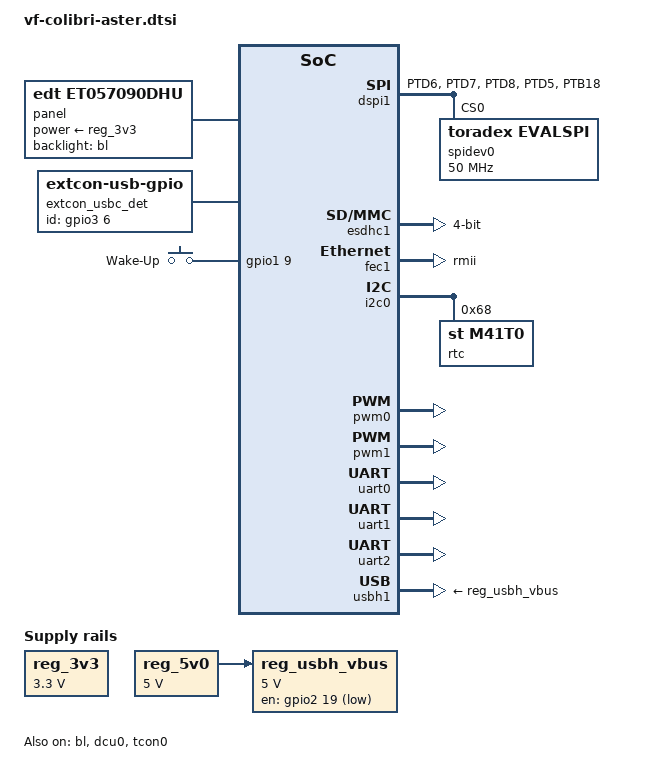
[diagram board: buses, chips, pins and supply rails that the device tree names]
/*
 * Copyright 2017 Toradex AG
 *
 * This program is free software; you can redistribute it and/or modify
 * it under the terms of the GNU General Public License as published by
 * the Free Software Foundation; either version 2 of the License, or
 * (at your option) any later version.
 */

#include <dt-bindings/input/input.h>

/ {
	chosen {
		stdout-path = "serial0:115200n8";
	};

	aliases {
		ethernet0 = &fec1;
		ethernet1 = &fec0;
	};

	panel: panel {
		compatible = "edt,et057090dhu";
		backlight = <&bl>;
		power-supply =  <&reg_3v3>;
	};

	extcon_usbc_det: usbc_det {
		compatible = "linux,extcon-usb-gpio";
		debounce = <25>;
		id-gpio = <&gpio3 6 GPIO_ACTIVE_HIGH>;
		pinctrl-names = "default";
		pinctrl-0 = <&pinctrl_usbc_det>;
	};

	reg_3v3: regulator-3v3 {
		compatible = "regulator-fixed";
		regulator-name = "3.3V";
		regulator-min-microvolt = <3300000>;
		regulator-max-microvolt = <3300000>;
		regulator-always-on;
	};

	reg_5v0: regulator-5v0 {
		compatible = "regulator-fixed";
		regulator-name = "5V";
		regulator-min-microvolt = <5000000>;
		regulator-max-microvolt = <5000000>;
		regulator-always-on;
	};

	reg_usbh_vbus: regulator-usbh-vbus {
		compatible = "regulator-fixed";
		pinctrl-names = "default";
		pinctrl-0 = <&pinctrl_usbh1_reg>;
		regulator-name = "VCC_USB[1-4]";
		regulator-min-microvolt = <5000000>;
		regulator-max-microvolt = <5000000>;
		gpio = <&gpio2 19 GPIO_ACTIVE_LOW>; /* USBH_PEN resp. USBH_P_EN */
		vin-supply = <&reg_5v0>;
	};

	gpio-keys {
		compatible = "gpio-keys";
		pinctrl-names = "default";
		pinctrl-0 = <&pinctrl_gpiokeys>;

		power {
			label = "Wake-Up";
			gpios = <&gpio1 9 GPIO_ACTIVE_HIGH>;
			linux,code = <KEY_WAKEUP>;
			debounce-interval = <10>;
			gpio-key,wakeup;
		};
	};
};

&bl {
	brightness-levels = <0 4 8 16 32 64 128 255>;
	default-brightness-level = <6>;
	power-supply =  <&reg_3v3>;
	status  = "okay";
};

&dcu0 {
	pinctrl-names = "default";
	pinctrl-0 = <&pinctrl_dcu0_1>;
	fsl,panel = <&panel>;
	status = "okay";
};

&dspi1 {
	pinctrl-names = "default";
	pinctrl-0 = <&pinctrl_aster_dspi1 &pinctrl_aster_spi_gpio>;
	status = "okay";

	spidev0: spidev@0 {
		compatible = "toradex,evalspi";
		reg = <0>;
		spi-max-frequency = <50000000>;
	};
};

&esdhc1 {
	pinctrl-names = "default";
	pinctrl-0 = <&pinctrl_esdhc1>;
	bus-width = <4>;
	status = "okay";
};

&fec1 {
	phy-mode = "rmii";
	pinctrl-names = "default";
	pinctrl-0 = <&pinctrl_fec1>;
	status = "okay";
};

&i2c0 {
	status = "okay";

	/* M41T0M6 real time clock on carrier board */
	rtc: m41t0m6@68 {
		compatible = "st,m41t0";
		reg = <0x68>;
	};
};

&pwm0 {
	status = "okay";
};

&pwm1 {
	status = "okay";
};

&reg_module_3v3 {
	vin-supply = <&reg_3v3>;
};

&tcon0 {
	status = "okay";
};

&uart0 {
	status = "okay";
};

&uart1 {
	status = "okay";
};

&uart2 {
	status = "okay";
};

&usbdev0 {
	extcon = <&extcon_usbc_det>, <&extcon_usbc_det>;
};

&usbh1 {
	vbus-supply = <&reg_usbh_vbus>;
};

&iomuxc {
	vf610-colibri {
		pinctrl_gpiokeys: gpiokeys {
			fsl,pins = <
				VF610_PAD_PTB19__GPIO_41	0x218d
			>;
		};

		pinctrl_aster_dspi1: dspi1grp {
			fsl,pins = <
				VF610_PAD_PTD6__DSPI1_SIN		0x33e1
				VF610_PAD_PTD7__DSPI1_SOUT		0x33e2
				VF610_PAD_PTD8__DSPI1_SCK		0x33e2
			>;
		};

		pinctrl_aster_spi_gpio: spigpios {
			fsl,pins = <
				/* CS0 */
				VF610_PAD_PTD5__GPIO_84			0x22ed
				/* CS1 */
				VF610_PAD_PTB18__GPIO_40		0x22ed
			>;
		};
	};
};
